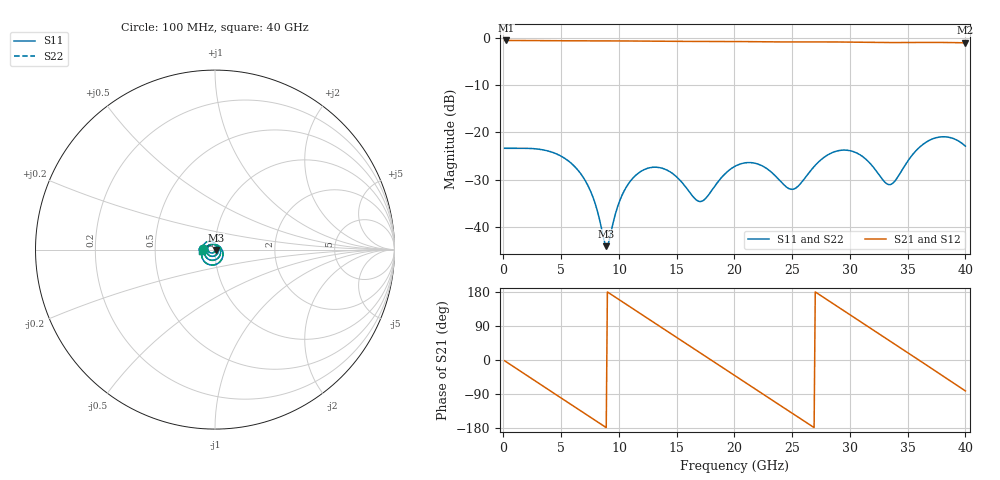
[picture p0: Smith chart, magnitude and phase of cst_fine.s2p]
! thru_s8x4_L3: 2×thru, L3, 8 mm
! stackup: 8-layer 1.6 mm FR-4 without the L4 plane
! ports: 1, 2
! CST Studio Suite 2025.5 Release from 2025-05-30, time domain (FIT, hexahedral, PBA), 229600 mesh cells, 41 s
! mesh: {'lpw': 30.0, 'lpb': 30.0, 'minstep': 0.0, 'ratio': 20}; ports: port 1 (face); port 2 (face)
! interpolated from CST's 1001 samples to the case grid
# Hz S RI R 50
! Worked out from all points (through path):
!   400 points, 100 MHz to 40 GHz, reference 50 ohm
!   highest |S21| = -0.61 dB at 200 MHz (marker M1); lowest = -1.1 dB at 40 GHz (marker M2)
!   group delay of S21, straight-line fit = 55.6 ps
!   lowest |S11| = -44.0 dB at 8.9 GHz (marker M3), VSWR 1.01, Z = 50.6 - j0.221 ohm
!   |S11| at or under -10 dB: start of sweep to end of sweep
!   |S22| runs from -44.0 to -20.9 dB; largest |S21 - S12| = 4.2e-07
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1e8  -0.0681 0.000952  0.9319 -0.0328  0.9319 -0.0328  -0.0681 0.000952
2e8  -0.0681 0.0019  0.9302 -0.0656  0.9302 -0.0656  -0.0681 0.0019
1.8e9  -0.0658 0.0181  0.7506 -0.5506  0.7506 -0.5506  -0.0658 0.0181
3.7e9  -0.0516 0.0387  0.2497 -0.893  0.2497 -0.893  -0.0516 0.0387
5.2e9  -0.0282 0.0466  -0.2293 -0.8962  -0.2293 -0.8962  -0.0282 0.0466
6.8e9  -0.00127 0.0352  -0.6685 -0.6382  -0.6685 -0.6382  -0.00127 0.0352
8.9e9  0.00595 -0.00218  -0.9232 -0.0254  -0.9232 -0.0254  0.00595 -0.00218
1.08e10  -0.0218 -0.0184  -0.7394 0.5486  -0.7394 0.5486  -0.0218 -0.0184
1.34e10  -0.0395 0.0166  -0.0231 0.9141  -0.0231 0.9141  -0.0395 0.0166
1.51e10  -0.0109 0.0313  0.4889 0.7699  0.4889 0.7699  -0.0109 0.0313
1.7e10  0.0183 0.00409  0.8587 0.3068  0.8587 0.3068  0.0183 0.00409
1.85e10  0.00812 -0.0282  0.8965 -0.1648  0.8965 -0.1648  0.00812 -0.0282
2.01e10  -0.0269 -0.0353  0.6697 -0.615  0.6697 -0.615  -0.0269 -0.0353
2.32e10  -0.0289 0.025  -0.2263 -0.8721  -0.2263 -0.8721  -0.0289 0.025
2.5e10  0.0175 0.0181  -0.6925 -0.5734  -0.6925 -0.5734  0.0175 0.0181
2.67e10  0.0287 -0.0293  -0.8955 -0.0885  -0.8955 -0.0885  0.0287 -0.0293
2.84e10  -0.0114 -0.0597  -0.7902 0.43  -0.7902 0.43  -0.0114 -0.0597
3.03e10  -0.0567 -0.0271  -0.3523 0.8229  -0.3523 0.8229  -0.0567 -0.0271
3.34e10  0.0108 0.0261  0.5542 0.6916  0.5542 0.6916  0.0108 0.0261
3.51e10  0.0444 -0.0266  0.8463 0.2653  0.8463 0.2653  0.0444 -0.0266
3.66e10  0.015 -0.0776  0.8671 -0.1966  0.8671 -0.1966  0.015 -0.0776
4e10  -0.0711 -0.00913  0.1282 -0.871  0.1282 -0.871  -0.0711 -0.00913
